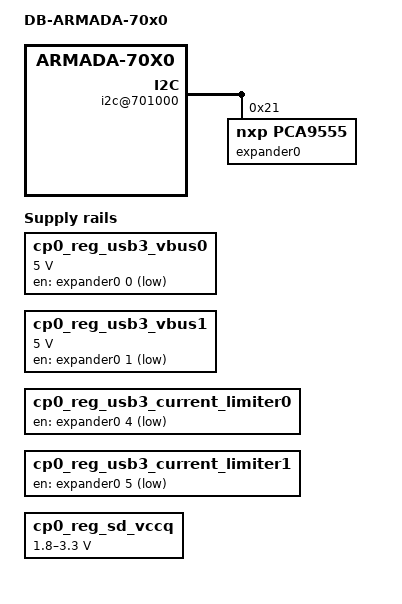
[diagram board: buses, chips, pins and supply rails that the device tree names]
/*
 * ***************************************************************************
 * Copyright (C) 2017 Marvell International Ltd.
 * ***************************************************************************
 * This program is free software: you can redistribute it and/or modify it
 * under the terms of the GNU General Public License as published by the Free
 * Software Foundation, either version 2 of the License, or any later version.
 *
 * This program is distributed in the hope that it will be useful,
 * but WITHOUT ANY WARRANTY; without even the implied warranty of
 * MERCHANTABILITY or FITNESS FOR A PARTICULAR PURPOSE.  See the
 * GNU General Public License for more details.
 *
 * You should have received a copy of the GNU General Public License
 * along with this program.  If not, see <http://www.gnu.org/licenses/>.
 * ***************************************************************************
 */

#include "armada-70x0.dtsi" /* include SoC device tree */
#include "armada-70x0-dev-info.dtsi" /* include Marvell specific info (S@R, MPP cmd) */

#define CP110_NUM				0
#define SPI_DIRECT_BASE				(0xf9000000)

/ {
	model = "DB-ARMADA-70x0";
	compatible = "marvell,armada-70x0-db", "marvell,armada-70x0";

	cp0 {
		config-space {
			ranges = <0x0 U64_TO_U32_H(CP110_BASE) U64_TO_U32_L(CP110_BASE) 0x2000000>,			/* internal regs */
				 <0x2000000 U64_TO_U32_H(SPI_DIRECT_BASE) U64_TO_U32_L(SPI_DIRECT_BASE) 0x1000000>;	/* SPI1-DEV0 */
			i2c@701000 {
				expander0: pca953x@21 {
					compatible = "nxp,pca9555";
					#gpio-cells = <2>;
					reg = <0x21>;
					status = "okay";
				};
			};

			sdhci@780000 {
				vqmmc-supply = <&cp0_reg_sd_vccq>;
			};

			cp0_reg_usb3_vbus0:cp0_usb3_vbus@0 {
				compatible = "regulator-fixed";
				regulator-min-microvolt = <5000000>;
				regulator-max-microvolt = <5000000>;
				startup-delay-us = <100000>;
				shutdown-delay-us = <500000>;
				regulator-force-boot-off;
				gpio = <&expander0 0 GPIO_ACTIVE_HIGH>;
			};

			cp0_reg_usb3_vbus1: cp0_usb3_vbus@1 {
				compatible = "regulator-fixed";
				regulator-min-microvolt = <5000000>;
				regulator-max-microvolt = <5000000>;
				startup-delay-us = <100000>;
				shutdown-delay-us = <500000>;
				regulator-force-boot-off;
				gpio = <&expander0 1 GPIO_ACTIVE_HIGH>;
			};

			cp0_reg_usb3_current_limiter0:cp0_usb3_current_limiter@0 {
				compatible = "regulator-fixed";
				regulator-min-microamp = <900000>;
				regulator-max-microamp = <900000>;
				regulator-force-boot-off;
				gpio = <&expander0 4 GPIO_ACTIVE_HIGH>;
			};

			cp0_reg_usb3_current_limiter1: cp0_usb3_current_limiter@1 {
				compatible = "regulator-fixed";
				regulator-min-microamp = <900000>;
				regulator-max-microamp = <900000>;
				regulator-force-boot-off;
				gpio = <&expander0 5 GPIO_ACTIVE_HIGH>;
			};

			cp0_usb3_0: usb3@500000 {
				vbus-supply = <&cp0_reg_usb3_vbus0>;
				current-limiter = <&cp0_reg_usb3_current_limiter0>;
			};

			cp0_usb3_1: usb3@510000 {
				vbus-supply = <&cp0_reg_usb3_vbus1>;
				current-limiter = <&cp0_reg_usb3_current_limiter1>;
			};

			cp0_reg_sd_vccq: cp0_sd_vccq@0 {
				compatible = "regulator-gpio";
				regulator-name = "cp0_sd_vcc";
				regulator-min-microvolt = <1800000>;
				regulator-max-microvolt = <3300000>;
				gpios = <&expander0 15 GPIO_ACTIVE_HIGH>;
				states = <1800000 0x1
					  3300000 0x0>;
			};
		};
	};
};
